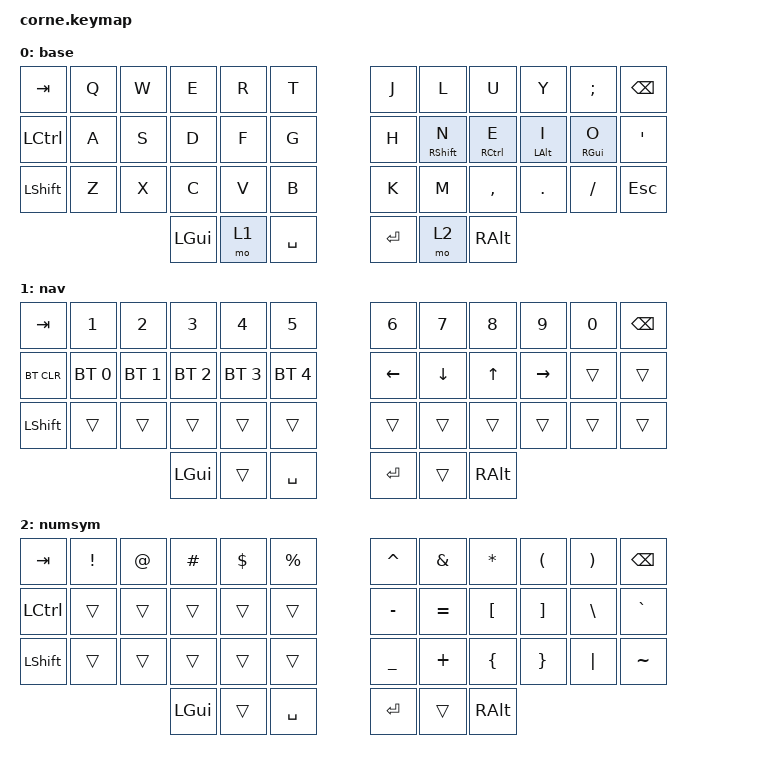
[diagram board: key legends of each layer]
/*
 * Copyright (c) 2020 The ZMK Contributors
 *
 * SPDX-License-Identifier: MIT
 */

#include <behaviors.dtsi>
#include <dt-bindings/zmk/bt.h>
#include <dt-bindings/zmk/keys.h>

/ {
    keymap {
        compatible = "zmk,keymap";

        base {
            // -----------------------------------------------------------------------------------------
            // |  TAB |  Q  |  W  |  E  |  R  |  T  |   |  Y  |  U   |  I  |  O  |  P  | BSPC |
            // | CTRL |  A  |  S  |  D  |  F  |  G  |   |  H  |  J   |  K  |  L  |  ;  |  '   |
            // | SHFT |  Z  |  X  |  C  |  V  |  B  |   |  N  |  M   |  ,  |  .  |  /  | ESC  |
            //                    | GUI | LWR | SPC |   | ENT | RSE  | ALT |

            bindings = <
&kp TAB    &kp Q  &kp W  &kp E     &kp R  &kp T        &kp J    &kp L         &kp U                &kp Y           &kp SEMICOLON    &kp BSPC
&kp LCTRL  &kp A  &kp S  &kp D     &kp F  &kp G        &kp H    &mt RSHIFT N  &mt RIGHT_CONTROL E  &mt LEFT_ALT I  &mt RIGHT_GUI O  &kp SQT
&kp LSHFT  &kp Z  &kp X  &kp C     &kp V  &kp B        &kp K    &kp M         &kp COMMA            &kp DOT         &kp FSLH         &kp ESC
                         &kp LGUI  &mo 1  &kp SPACE    &kp RET  &mo 2         &kp RALT
            >;
        };

        nav {
            // -----------------------------------------------------------------------------------------
            // |  TAB |  1  |  2  |  3  |  4  |  5  |   |  6  |  7  |  8  |  9  |  0  | BSPC |
            // | BTCLR| BT1 | BT2 | BT3 | BT4 | BT5 |   | LFT | DWN |  UP | RGT |     |      |
            // | SHFT |     |     |     |     |     |   |     |     |     |     |     |      |
            //                    | GUI |     | SPC |   | ENT |     | ALT |

            bindings = <
&kp TAB     &kp N1        &kp N2        &kp N3        &kp N4        &kp N5          &kp N6    &kp N7    &kp N8    &kp N9     &kp N0  &kp BSPC
&bt BT_CLR  &bt BT_SEL 0  &bt BT_SEL 1  &bt BT_SEL 2  &bt BT_SEL 3  &bt BT_SEL 4    &kp LEFT  &kp DOWN  &kp UP    &kp RIGHT  &trans  &trans
&kp LSHFT   &trans        &trans        &trans        &trans        &trans          &trans    &trans    &trans    &trans     &trans  &trans
                                        &kp LGUI      &trans        &kp SPACE       &kp RET   &trans    &kp RALT
            >;
        };

        numsym {
            // -----------------------------------------------------------------------------------------
            // |  TAB |  !  |  @  |  #  |  $  |  %  |   |  ^  |  &  |  *  |  (  |  )  | BSPC |
            // | CTRL |     |     |     |     |     |   |  -  |  =  |  [  |  ]  |  \  |  `   |
            // | SHFT |     |     |     |     |     |   |  _  |  +  |  {  |  }  | "|" |  ~   |
            //                    | GUI |     | SPC |   | ENT |     | ALT |

            bindings = <
&kp TAB    &kp EXCL  &kp AT  &kp HASH  &kp DLLR  &kp PRCNT    &kp CARET  &kp AMPS   &kp ASTRK  &kp LPAR  &kp RPAR  &kp BSPC
&kp LCTRL  &trans    &trans  &trans    &trans    &trans       &kp MINUS  &kp EQUAL  &kp LBKT   &kp RBKT  &kp BSLH  &kp GRAVE
&kp LSHFT  &trans    &trans  &trans    &trans    &trans       &kp UNDER  &kp PLUS   &kp LBRC   &kp RBRC  &kp PIPE  &kp TILDE
                             &kp LGUI  &trans    &kp SPACE    &kp RET    &trans     &kp RALT
            >;
        };
    };
};
